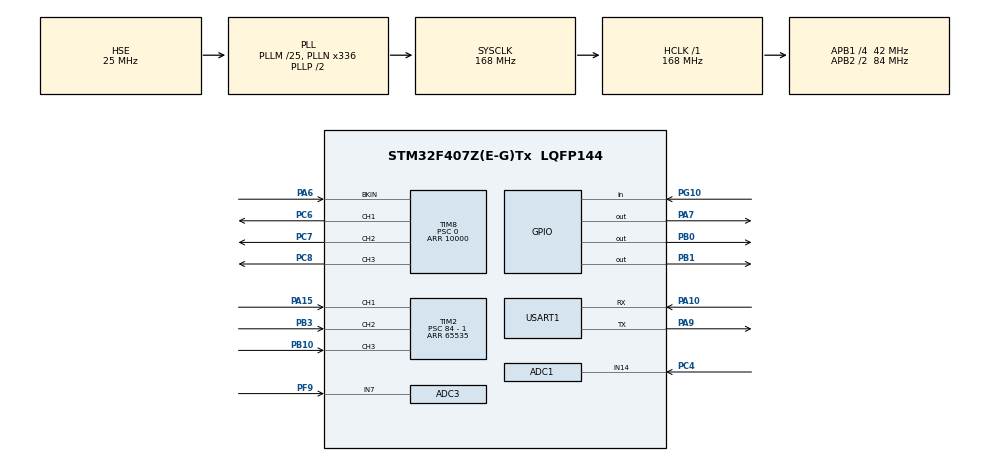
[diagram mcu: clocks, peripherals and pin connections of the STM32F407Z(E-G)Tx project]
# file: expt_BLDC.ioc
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ADC1.Channel-0\#ChannelRegularConversion=ADC_CHANNEL_14
ADC1.ClockPrescaler=ADC_CLOCK_SYNC_PCLK_DIV4
ADC1.ContinuousConvMode=DISABLE
ADC1.DMAContinuousRequests=ENABLE
ADC1.NbrOfConversionFlag=1
ADC1.Rank-0\#ChannelRegularConversion=1
ADC1.SamplingTime-0\#ChannelRegularConversion=ADC_SAMPLETIME_3CYCLES
ADC1.master=1
ADC3.Channel-2\#ChannelRegularConversion=ADC_CHANNEL_7
ADC3.ClockPrescaler=ADC_CLOCK_SYNC_PCLK_DIV4
ADC3.DMAContinuousRequests=ENABLE
ADC3.NbrOfConversionFlag=1
ADC3.Rank-2\#ChannelRegularConversion=1
ADC3.SamplingTime-2\#ChannelRegularConversion=ADC_SAMPLETIME_3CYCLES
Dma.ADC1.1.Direction=DMA_PERIPH_TO_MEMORY
Dma.ADC1.1.FIFOMode=DMA_FIFOMODE_DISABLE
Dma.ADC1.1.Instance=DMA2_Stream0
Dma.ADC1.1.MemDataAlignment=DMA_MDATAALIGN_HALFWORD
Dma.ADC1.1.MemInc=DMA_MINC_ENABLE
Dma.ADC1.1.Mode=DMA_CIRCULAR
Dma.ADC1.1.PeriphDataAlignment=DMA_PDATAALIGN_HALFWORD
Dma.ADC1.1.PeriphInc=DMA_PINC_DISABLE
Dma.ADC1.1.Priority=DMA_PRIORITY_HIGH
Dma.ADC3.0.Direction=DMA_PERIPH_TO_MEMORY
Dma.ADC3.0.FIFOMode=DMA_FIFOMODE_DISABLE
Dma.ADC3.0.Instance=DMA2_Stream1
Dma.ADC3.0.MemDataAlignment=DMA_MDATAALIGN_HALFWORD
Dma.ADC3.0.MemInc=DMA_MINC_ENABLE
Dma.ADC3.0.Mode=DMA_CIRCULAR
Dma.ADC3.0.PeriphDataAlignment=DMA_PDATAALIGN_HALFWORD
Dma.ADC3.0.PeriphInc=DMA_PINC_DISABLE
Dma.ADC3.0.Priority=DMA_PRIORITY_HIGH
Dma.Request0=ADC3
Dma.Request1=ADC1
FREERTOS.Tasks01=Task1,24,128,StartTask1,Default,NULL,Dynamic,NULL,NULL;myTask02,40,128,StartTask02,Default,NULL,Dynamic,NULL,NULL;myTask03,40,128,StartTask03,Default,NULL,Dynamic,NULL,NULL;myTask04,40,128,StartTask04,Default,NULL,Dynamic,NULL,NULL;myTask05,40,128,StartTask05,Default,NULL,Dynamic,NULL,NULL
FREERTOS.Timers01=Timer_1ms,Timer_1ms_Callback,osTimerPeriodic,Default,NULL,Dynamic,NULL
Mcu.Family=STM32F4
Mcu.Name=STM32F407Z(E-G)Tx
Mcu.Package=LQFP144
NVIC.ADC_IRQn=true\:5\:0\:false\:false\:true\:true\:true\:true\:true
NVIC.DMA2_Stream0_IRQn=true\:5\:0\:false\:false\:true\:true\:false\:true\:true
NVIC.DMA2_Stream1_IRQn=true\:5\:0\:false\:false\:true\:false\:false\:true\:true
NVIC.PriorityGroup=NVIC_PRIORITYGROUP_4
NVIC.TIM2_IRQn=true\:5\:0\:false\:false\:true\:true\:true\:true\:true
NVIC.TIM8_BRK_TIM12_IRQn=true\:5\:0\:false\:false\:true\:true\:true\:true\:true
NVIC.TIM8_UP_TIM13_IRQn=true\:15\:0\:false\:false\:true\:false\:false\:true\:true
NVIC.TimeBase=TIM8_UP_TIM13_IRQn
NVIC.TimeBaseIP=TIM13
PA10.Mode=Asynchronous
PA10.Signal=USART1_RX
PA13.Mode=Serial_Wire
PA13.Signal=SYS_JTMS-SWDIO
PA14.Mode=Serial_Wire
PA14.Signal=SYS_JTCK-SWCLK
PA15.GPIO_Speed=GPIO_SPEED_FREQ_HIGH
PA15.Signal=S_TIM2_CH1_ETR
PA6.Mode=Activate-Break-Input
PA6.Signal=TIM8_BKIN
PA7.GPIO_PuPd=GPIO_PULLUP
PA7.GPIO_Speed=GPIO_SPEED_FREQ_VERY_HIGH
PA7.Signal=GPIO_Output
PA9.Mode=Asynchronous
PA9.Signal=USART1_TX
PB0.GPIO_PuPd=GPIO_PULLUP
PB0.GPIO_Speed=GPIO_SPEED_FREQ_VERY_HIGH
PB0.Signal=GPIO_Output
PB1.GPIO_PuPd=GPIO_PULLUP
PB1.GPIO_Speed=GPIO_SPEED_FREQ_VERY_HIGH
PB1.Signal=GPIO_Output
PB10.GPIO_Speed=GPIO_SPEED_FREQ_HIGH
PB10.Signal=S_TIM2_CH3
PB3.GPIO_Speed=GPIO_SPEED_FREQ_HIGH
PB3.Signal=S_TIM2_CH2
PC4.Signal=ADCx_IN14
PC6.GPIO_Speed=GPIO_SPEED_FREQ_VERY_HIGH
PC6.Signal=S_TIM8_CH1
PC7.GPIO_Speed=GPIO_SPEED_FREQ_VERY_HIGH
PC7.Signal=S_TIM8_CH2
PC8.GPIO_Speed=GPIO_SPEED_FREQ_VERY_HIGH
PC8.Signal=S_TIM8_CH3
PF9.Mode=IN7
PF9.Signal=ADC3_IN7
PG10.GPIO_PuPd=GPIO_PULLUP
PG10.Signal=GPIO_Input
PH0-OSC_IN.Mode=HSE-External-Oscillator
PH0-OSC_IN.Signal=RCC_OSC_IN
PH1-OSC_OUT.Mode=HSE-External-Oscillator
PH1-OSC_OUT.Signal=RCC_OSC_OUT
ProjectManager.HeapSize=0x200
ProjectManager.StackSize=0x400
ProjectManager.TargetToolchain=MDK-ARM V5.32
RCC.48MHZClocksFreq_Value=84000000
RCC.AHBFreq_Value=168000000
RCC.APB1CLKDivider=RCC_HCLK_DIV4
RCC.APB1Freq_Value=42000000
RCC.APB1TimFreq_Value=84000000
RCC.APB2CLKDivider=RCC_HCLK_DIV2
RCC.APB2Freq_Value=84000000
RCC.APB2TimFreq_Value=168000000
RCC.CortexFreq_Value=168000000
RCC.HCLKFreq_Value=168000000
RCC.HSE_VALUE=25000000
RCC.HSI_VALUE=16000000
RCC.LSE_VALUE=32768
RCC.PLLM=25
RCC.PLLN=336
RCC.PLLSourceVirtual=RCC_PLLSOURCE_HSE
RCC.SYSCLKFreq_VALUE=168000000
RCC.SYSCLKSource=RCC_SYSCLKSOURCE_PLLCLK
RCC.VCOOutputFreq_Value=336000000
SH.ADCx_IN14.0=ADC1_IN14,IN14
SH.S_TIM2_CH1_ETR.0=TIM2_CH1,Input_Capture1_from_TI1
SH.S_TIM2_CH2.0=TIM2_CH2,Input_Capture2_from_TI2
SH.S_TIM2_CH3.0=TIM2_CH3,Input_Capture3_from_TI3
SH.S_TIM8_CH1.0=TIM8_CH1,PWM Generation1 CH1
SH.S_TIM8_CH2.0=TIM8_CH2,PWM Generation2 CH2
SH.S_TIM8_CH3.0=TIM8_CH3,PWM Generation3 CH3
TIM2.AutoReloadPreload=TIM_AUTORELOAD_PRELOAD_ENABLE
TIM2.Channel-Input_Capture1_from_TI1=TIM_CHANNEL_1
TIM2.Channel-Input_Capture2_from_TI2=TIM_CHANNEL_2
TIM2.Channel-Input_Capture3_from_TI3=TIM_CHANNEL_3
TIM2.ICFilter_CH1=8
TIM2.ICFilter_CH2=8
TIM2.ICFilter_CH3=8
TIM2.ICPolarity_CH1=TIM_INPUTCHANNELPOLARITY_BOTHEDGE
TIM2.ICPolarity_CH2=TIM_INPUTCHANNELPOLARITY_BOTHEDGE
TIM2.ICPolarity_CH3=TIM_INPUTCHANNELPOLARITY_BOTHEDGE
TIM2.Period=65535
TIM2.Prescaler=84 - 1
TIM3.Period=60000
TIM3.Prescaler=84 - 1
TIM8.AutoReloadPreload=TIM_AUTORELOAD_PRELOAD_ENABLE
TIM8.BreakPolarity=TIM_BREAKPOLARITY_LOW
TIM8.Channel-PWM\ Generation1\ CH1=TIM_CHANNEL_1
TIM8.Channel-PWM\ Generation2\ CH2=TIM_CHANNEL_2
TIM8.Channel-PWM\ Generation3\ CH3=TIM_CHANNEL_3
TIM8.LockLevel=TIM_LOCKLEVEL_3
TIM8.OffStateIDLEMode=TIM_OSSI_ENABLE
TIM8.OffStateRunMode=TIM_OSSR_ENABLE
TIM8.Period=10000
TIM8.Prescaler=0
USART1.VirtualMode=VM_ASYNC
VP_FREERTOS_VS_CMSIS_V2.Mode=CMSIS_V2
VP_SYS_VS_tim13.Mode=TIM13
VP_TIM2_VS_ClockSourceINT.Mode=Internal
VP_TIM2_VS_XOR.Mode=XOR_enable
VP_TIM3_VS_ClockSourceINT.Mode=Internal
VP_TIM8_VS_ClockSourceINT.Mode=Internal
board=custom

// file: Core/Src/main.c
/* USER CODE BEGIN Header */
/**
 ******************************************************************************
 * @file           : main.c
 * @brief          : Main program body
 ******************************************************************************
 * @attention
 *
 * Copyright (c) 2022 STMicroelectronics.
 * All rights reserved.
 *
 * This software is licensed under terms that can be found in the LICENSE file
 * in the root directory of this software component.
 * If no LICENSE file comes with this software, it is provided AS-IS.
 *
 ******************************************************************************
 */
/* USER CODE END Header */
#include "main.h"

#include "adc.h"
#include "cmsis_os.h"
#include "dma.h"
#include "gpio.h"
#include "tim.h"
#include "usart.h"

/* USER CODE BEGIN Includes */
#include "BLDC.h"
#include "stm32_2.8_lcd.h"
/* USER CODE END Includes */

/* USER CODE BEGIN PM */
extern bldc_t bldc;
/* USER CODE END PM */

void SystemClock_Config(void);
void MX_FREERTOS_Init(void);

int main(void) {

    /* MCU Configuration--------------------------------------------------------*/

    /* Reset of all peripherals, Initializes the Flash interface and the Systick. */
    HAL_Init();

    /* Configure the system clock */
    SystemClock_Config();

    /* Initialize all configured peripherals */
    MX_GPIO_Init();
    MX_DMA_Init();
    MX_ADC3_Init();
    MX_TIM2_Init();
    MX_TIM8_Init();
    MX_ADC1_Init();
    MX_TIM3_Init();
    MX_USART1_UART_Init();
    /* USER CODE BEGIN 2 */
    __HAL_TIM_ENABLE_IT(&htim8, TIM_IT_BREAK);
    HAL_TIM_IC_Start_IT(&htim2, TIM_CHANNEL_1);
    HAL_TIM_IC_Start_IT(&htim2, TIM_CHANNEL_2);
    HAL_TIM_IC_Start_IT(&htim2, TIM_CHANNEL_3);
    TIM2->CCR1 = 0.2 * (TIM2->ARR);
    TIM2->CCR2 = 0.2 * (TIM2->ARR);
    TIM2->CCR3 = 0.2 * (TIM2->ARR);
    HAL_TIM_Base_Start(&htim3);
    TIM3->CNT = 0;
    STM32_LCD_Init();
    LCD_Clear(Red);
    LCD_SetBackColor(Blue);
    LCD_SetTextColor(White);
    PID_Init(&bldc.bldc_pid);

    // 关于void HAL_TIM_IC_CaptureCallback(TIM_HandleTypeDef* htim)的定义，在hall_encoder.c里面
    // 接下来请打开freertos.c，所有运行的线程和函数都在里面
    /* USER CODE END 2 */

    /* Init scheduler */
    osKernelInitialize(); /* Call init function for freertos objects (in freertos.c) */
    MX_FREERTOS_Init();

    /* Start scheduler */
    osKernelStart();

    /* We should never get here as control is now taken by the scheduler */
    /* Infinite loop */
    while (1) {

    }
}

void SystemClock_Config(void) {
    RCC_OscInitTypeDef RCC_OscInitStruct = {0};
    RCC_ClkInitTypeDef RCC_ClkInitStruct = {0};

    /** Configure the main internal regulator output voltage
     */
    __HAL_RCC_PWR_CLK_ENABLE();
    __HAL_PWR_VOLTAGESCALING_CONFIG(PWR_REGULATOR_VOLTAGE_SCALE1);

    /** Initializes the RCC Oscillators according to the specified parameters
     * in the RCC_OscInitTypeDef structure.
     */
    RCC_OscInitStruct.OscillatorType = RCC_OSCILLATORTYPE_HSE;
    RCC_OscInitStruct.HSEState = RCC_HSE_ON;
    RCC_OscInitStruct.PLL.PLLState = RCC_PLL_ON;
    RCC_OscInitStruct.PLL.PLLSource = RCC_PLLSOURCE_HSE;
    RCC_OscInitStruct.PLL.PLLM = 25;
    RCC_OscInitStruct.PLL.PLLN = 336;
    RCC_OscInitStruct.PLL.PLLP = RCC_PLLP_DIV2;
    RCC_OscInitStruct.PLL.PLLQ = 4;
    if (HAL_RCC_OscConfig(&RCC_OscInitStruct) != HAL_OK) {
        Error_Handler();
    }

    /** Initializes the CPU, AHB and APB buses clocks
     */
    RCC_ClkInitStruct.ClockType = RCC_CLOCKTYPE_HCLK | RCC_CLOCKTYPE_SYSCLK | RCC_CLOCKTYPE_PCLK1 | RCC_CLOCKTYPE_PCLK2;
    RCC_ClkInitStruct.SYSCLKSource = RCC_SYSCLKSOURCE_PLLCLK;
    RCC_ClkInitStruct.AHBCLKDivider = RCC_SYSCLK_DIV1;
    RCC_ClkInitStruct.APB1CLKDivider = RCC_HCLK_DIV4;
    RCC_ClkInitStruct.APB2CLKDivider = RCC_HCLK_DIV2;

    if (HAL_RCC_ClockConfig(&RCC_ClkInitStruct, FLASH_LATENCY_5) != HAL_OK) {
        Error_Handler();
    }
}

void HAL_TIM_PeriodElapsedCallback(TIM_HandleTypeDef *htim) {
    if (htim->Instance == TIM13) {
        HAL_IncTick();
    }
}

void Error_Handler(void) {
    __disable_irq();
    while (1) {
    }
}

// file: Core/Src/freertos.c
/* USER CODE BEGIN Header */
/**
 ******************************************************************************
 * File Name          : freertos.c
 * Description        : Code for freertos applications
 ******************************************************************************
 * @attention
 *
 * Copyright (c) 2022 STMicroelectronics.
 * All rights reserved.
 *
 * This software is licensed under terms that can be found in the LICENSE file
 * in the root directory of this software component.
 * If no LICENSE file comes with this software, it is provided AS-IS.
 *
 ******************************************************************************
 */
/* USER CODE END Header */

#include "FreeRTOS.h"

#include "cmsis_os.h"
#include "main.h"
#include "task.h"

/* USER CODE BEGIN Includes */
#include <stdio.h>

#include "BLDC.h"
#include "adc.h"
#include "stm32_2.8_lcd.h"
#include "tim.h"
#include "usart.h"
/* USER CODE END Includes */

/* USER CODE BEGIN Variables */
uint8_t now_flag, last_flag;
bldc_t bldc;
uint32_t Adc_data;
uint32_t xxx1;
uint32_t Vbus_data;
uint32_t xxx2;
char str1[] = "ADC_data:";
char str2[] = "PWM:";
char str3[] = "Ref volcity:";
char str4[] = "Fdb volcity:";
char str5[] = "Vbus value:";
char str6[] = "Lmh test";
uint8_t button_flag = 0;
/* USER CODE END Variables */
/* Definitions for Task1 */
osThreadId_t Task1Handle;
const osThreadAttr_t Task1_attributes = {
    .name = "Task1",
    .stack_size = 128 * 4,
    .priority = (osPriority_t)osPriorityNormal,
};
/* Definitions for myTask02 */
osThreadId_t myTask02Handle;
const osThreadAttr_t myTask02_attributes = {
    .name = "myTask02",
    .stack_size = 128 * 4,
    .priority = (osPriority_t)osPriorityHigh,
};
/* Definitions for myTask03 */
osThreadId_t myTask03Handle;
const osThreadAttr_t myTask03_attributes = {
    .name = "myTask03",
    .stack_size = 128 * 4,
    .priority = (osPriority_t)osPriorityHigh,
};
/* Definitions for myTask04 */
osThreadId_t myTask04Handle;
const osThreadAttr_t myTask04_attributes = {
    .name = "myTask04",
    .stack_size = 128 * 4,
    .priority = (osPriority_t)osPriorityHigh,
};
/* Definitions for myTask05 */
osThreadId_t myTask05Handle;
const osThreadAttr_t myTask05_attributes = {
    .name = "myTask05",
    .stack_size = 128 * 4,
    .priority = (osPriority_t)osPriorityHigh,
};
/* Definitions for Timer_1ms */
osTimerId_t Timer_1msHandle;
const osTimerAttr_t Timer_1ms_attributes = {
    .name = "Timer_1ms"};

/* USER CODE BEGIN FunctionPrototypes */
GPIO_PinState KeyStateRead(GPIO_TypeDef *GPIOx, uint16_t GPIO_Pin);
/* USER CODE END FunctionPrototypes */

void StartTask1(void *argument);
void StartTask02(void *argument);
void StartTask03(void *argument);
void StartTask04(void *argument);
void StartTask05(void *argument);
void Timer_1ms_Callback(void *argument);

void MX_FREERTOS_Init(void); /* (MISRA C 2004 rule 8.1) */

void MX_FREERTOS_Init(void) {

    /* Create the timer(s) */
    /* creation of Timer_1ms */
    Timer_1msHandle = osTimerNew(Timer_1ms_Callback, osTimerPeriodic, NULL, &Timer_1ms_attributes);

    /* USER CODE BEGIN RTOS_TIMERS */
    /* start timers, add new ones, ... */
    osTimerStart(Timer_1msHandle, 1);
    /* USER CODE END RTOS_TIMERS */

    /* Create the thread(s) */
    /* creation of Task1 */
    Task1Handle = osThreadNew(StartTask1, NULL, &Task1_attributes);

    /* creation of myTask02 */
    myTask02Handle = osThreadNew(StartTask02, NULL, &myTask02_attributes);

    /* creation of myTask03 */
    myTask03Handle = osThreadNew(StartTask03, NULL, &myTask03_attributes);

    /* creation of myTask04 */
    myTask04Handle = osThreadNew(StartTask04, NULL, &myTask04_attributes);

    /* creation of myTask05 */
    myTask05Handle = osThreadNew(StartTask05, NULL, &myTask05_attributes);

}

void StartTask1(void *argument) {
    /* USER CODE BEGIN StartTask1 */
    /* Infinite loop */
    for (;;) {
        HAL_UART_Transmit_DMA(&huart1, (uint8_t *)str6, sizeof(str6));
        osDelay(100);
    }
    /* USER CODE END StartTask1 */
}

void StartTask02(void *argument) {
    /* USER CODE BEGIN StartTask02 */
    /* Infinite loop */
    for (;;) {
        if (button_flag == 0 && bldc.BLDC_begin == BLDC_START) {
            BLDC_PhaseChange(&bldc);
            BLDCSend(bldc);
            button_flag = 1;
        }
        osDelay(4);
    }
    /* USER CODE END StartTask02 */
}

void StartTask03(void *argument) {
    /* USER CODE BEGIN StartTask03 */
    /* Infinite loop */
    for (;;) {
        LCD_DisplayStringLine(Line0, (u8 *)str1);
        LCD_Draw_NUM(25, 300, bldc.adc_data);
        LCD_DisplayStringLine(Line2, (u8 *)str2);
        LCD_Draw_NUM(75, 300, bldc.pwm);
        LCD_DisplayStringLine(Line4, (u8 *)str3);
        LCD_Draw_NUM(125, 300, bldc.set_speed);
        LCD_DisplayStringLine(Line6, (u8 *)str4);
        LCD_Draw_NUM(175, 300, bldc.hall.volcity);
        LCD_DisplayStringLine(Line8, (u8 *)str5);
        LCD_Draw_NUM(225, 300, bldc.vbus_data);
        osDelay(1);
    }
    /* USER CODE END StartTask03 */
}

void StartTask04(void *argument) {
    /* USER CODE BEGIN StartTask04 */
    /* Infinite loop */
    for (;;) {
        HAL_ADC_Start(&hadc1);
        HAL_ADC_Start_DMA(&hadc1, &Vbus_data, sizeof(Vbus_data));
        HAL_ADC_Start(&hadc3);
        HAL_ADC_Start_DMA(&hadc3, &Adc_data, sizeof(Adc_data));
        bldc.adc_data = (uint16_t)Adc_data;
        bldc.vbus_data = (uint16_t)Vbus_data / 7;
        // bldc.vbus_data = 24;
        bldc.pwm = bldc.adc_data * 100 / 4095;
        bldc.set_speed = bldc.pwm * BLDC_MAX_SPEED / 100;
        bldc.bldc_pid.ref = bldc.set_speed;
        osDelay(1);
    }
    /* USER CODE END StartTask04 */
}

void StartTask05(void *argument) {
    /* USER CODE BEGIN StartTask05 */
    /* Infinite loop */
    for (;;) {
        if (KeyStateRead(GPIOG, GPIO_PIN_10) == GPIO_PIN_RESET) {
            last_flag = 1;
        }
        if ((KeyStateRead(GPIOG, GPIO_PIN_10) == GPIO_PIN_SET) && (last_flag == 1)) {
            bldc.BLDC_begin = 1 - bldc.BLDC_begin;
            last_flag = 0;
        }
        if (bldc.BLDC_begin == BLDC_STOP && button_flag == 1) {
            button_flag = 0;
        }
        osDelay(10);
    }
    /* USER CODE END StartTask05 */
}

/* Timer_1ms_Callback function */
void Timer_1ms_Callback(void *argument) {
}

/* USER CODE BEGIN Application */
GPIO_PinState KeyStateRead(GPIO_TypeDef *GPIOx, uint16_t GPIO_Pin) {
    if (HAL_GPIO_ReadPin(GPIOx, GPIO_Pin) == GPIO_PIN_RESET) {
        osDelay(10);
        if (HAL_GPIO_ReadPin(GPIOx, GPIO_Pin) == GPIO_PIN_RESET) {
            return GPIO_PIN_RESET;
        } else {
            return GPIO_PIN_SET;
        }
    }
    return GPIO_PIN_SET;
}
/* USER CODE END Application */
